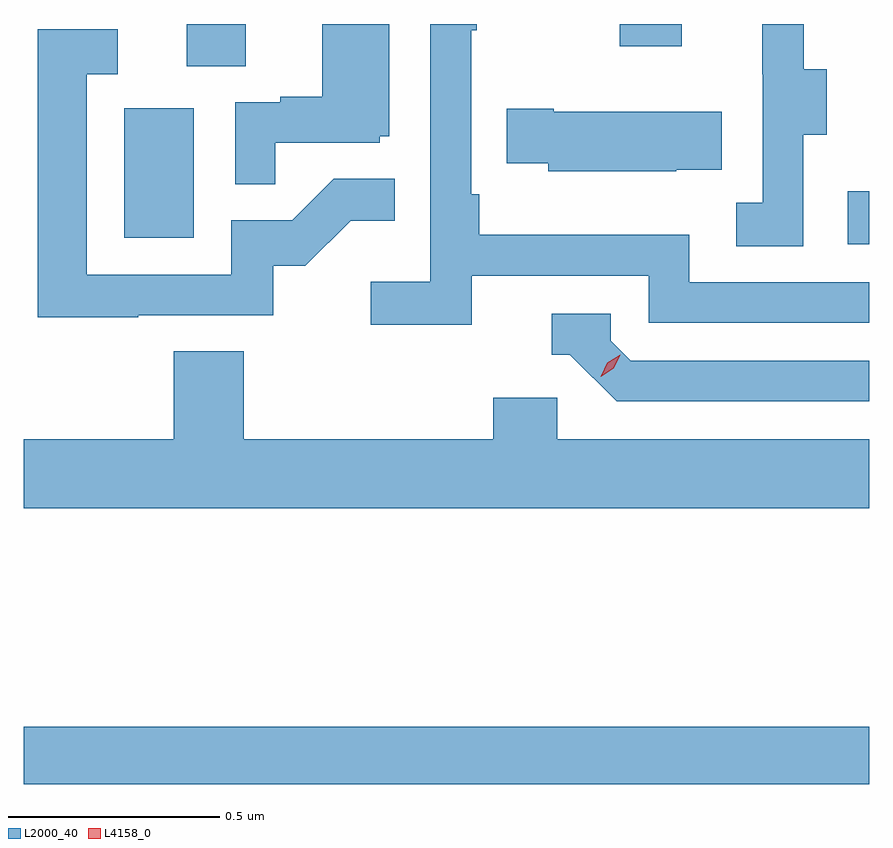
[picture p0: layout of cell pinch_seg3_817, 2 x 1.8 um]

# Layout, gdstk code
import gdstk
lib = gdstk.Library(unit=1e-6, precision=1e-09)
def R(c, l, rs):  # rectangles x0, y0, x1, y1
    for r in rs: c.add(gdstk.rectangle(r[:2], r[2:], *l))
def P(c, l, *ps):  # polygons
    for p in ps: c.add(gdstk.Polygon(p, *l))
L2000_40 = (2000, 40)
L4158_0 = (4158, 0)

pinch_seg3_817 = lib.new_cell('pinch_seg3_817')
R(pinch_seg3_817, L2000_40, [(878.146,713.584,880.146,713.72), (880.095,714.861,880.146,714.986), (878.384,714.876,878.548,715.183), (878.531,715.282,878.671,715.382), (879.556,715.329,879.703,715.382)])
P(pinch_seg3_817, L2000_40, [(879.99,715.12),(880.045,715.12),(880.045,715.275),(879.991,715.275),(879.991,715.382),(879.893,715.382),(879.893,715.263),(879.894,715.263),(879.894,714.959),(879.831,714.959),(879.831,714.856),(879.99,714.856)],
  [(879.206,714.786),(879.624,714.786),(879.624,714.675),(880.146,714.675),(880.146,714.771),(879.72,714.771),(879.72,714.883),(879.224,714.883),(879.224,714.979),(879.204,714.979),(879.204,715.367),(879.217,715.367),(879.217,715.382),(879.108,715.382),(879.108,714.772),(878.967,714.772),(878.967,714.67),(879.206,714.67)],
  [(878.741,715.101),(878.988,715.101),(878.988,715.116),(879.01,715.116),(879.01,715.382),(878.852,715.382),(878.852,715.21),(878.753,715.21),(878.753,715.197),(878.646,715.197),(878.646,715.003),(878.741,715.003)],
  [(878.417,714.693),(878.736,714.693),(878.736,714.81),(878.812,714.81),(878.919,714.917),(879.023,714.917),(879.023,715.016),(878.879,715.016),(878.781,714.918),(878.637,714.918),(878.637,714.789),(878.295,714.789),(878.295,715.263),(878.368,715.263),(878.368,715.369),(878.179,715.369),(878.179,714.688),(878.417,714.688)],
  [(879.689,715.037),(879.797,715.037),(879.797,715.174),(879.4,715.174),(879.4,715.182),(879.289,715.182),(879.289,715.052),(879.387,715.052),(879.387,715.034),(879.689,715.034)],
  [(880.146,714.585),(879.582,714.585),(879.534,714.633),(879.534,714.696),(879.395,714.696),(879.395,714.6),(879.438,714.6),(879.549,714.489),(880.146,714.489)],
  [(880.146,714.4),(879.408,714.4),(879.408,714.498),(879.257,714.498),(879.257,714.4),(878.666,714.4),(878.666,714.608),(878.501,714.608),(878.501,714.4),(878.146,714.4),(878.146,714.236),(880.146,714.236)])
P(pinch_seg3_817, L4158_0, [(879.511,714.547),(879.511,714.547),(879.526,714.58),(879.557,714.6),(879.557,714.6),(879.557,714.6),(879.542,714.567),(879.511,714.547)])

lib.write_gds('pinch_seg3_817.gds')
